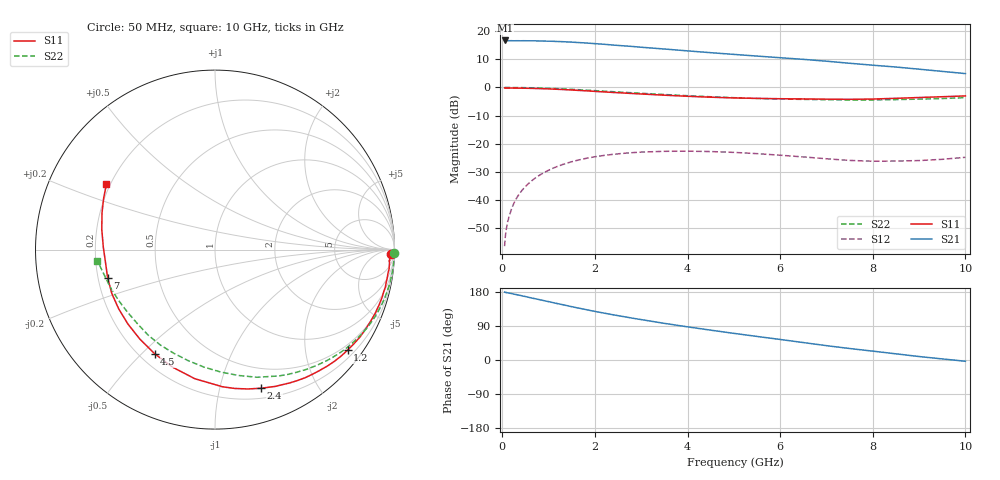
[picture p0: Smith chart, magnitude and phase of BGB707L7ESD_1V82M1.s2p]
!  Infineon Technologies AG
!  BGB707L7ESD RU919007 w#7 Sample Build #08493 Teil Nr. 3
!  Vce = 1.8V, Ic = 2.1mA
!  DATUM: 30.06.2009 10:15:06
# GHz  S  MA  R  50
!f  S11  S21  S12  S22
!GHz  Mag  Ang  Mag  Ang  Mag  Ang  Mag  Ang
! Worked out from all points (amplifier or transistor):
!   52 points, 50 MHz to 10 GHz, reference 50 ohm
!   highest |S21| = 16.7 dB at 60 MHz (marker M1)
!   |S21| within 3 dB of that: start of sweep to 3.461 GHz
!   unconditionally stable (mu >= 1): 7.06 GHz to end of sweep
!   at 130 MHz: K = -0.04, MSG = 31.9 dB, |S12| = -47.1 dB
!   at 1.4 GHz: K = 0.06, MSG = 21.6 dB, |S12| = -26.9 dB
!   at 10 GHz: K = 1.19, MAG = 12.3 dB, |S12| = -24.9 dB
!   lowest NFmin = 0.40 dB at 100 MHz
!   S11 on the Smith chart (normalised r, x): 50 MHz: 37, -46; 1.2 GHz: 0.37, -2.93; 2.4 GHz: 0.29, -1.35; 4.5 GHz: 0.26, -0.55; 7 GHz: 0.24, -0.12; 10 GHz: 0.18, +0.27
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0.05  0.9788 -1.5  6.744 179.0  0.00149 87.9  0.999 -1.1
0.06  0.9779 -2.0  6.873 178.7  0.002024 90.8  0.9994 -1.3
0.08  0.9738 -2.3  6.761 178.0  0.002754 87.4  0.999 -1.8
0.09  0.9757 -2.9  6.817 178.4  0.003109 90.1  0.9995 -2.1
0.1  0.9744 -3.3  6.782 177.5  0.003396 90.5  0.999 -2.3
0.2  0.976 -6.3  6.81 175.3  0.006892 85.9  0.9978 -4.6
0.4  0.972 -12.4  6.778 170.1  0.01383 81.6  0.9934 -9.2
0.7  0.9603 -21.9  6.776 161.9  0.02398 74.9  0.983 -16.2
1.2  0.9271 -37.2  6.58 148.6  0.03949 63.9  0.9512 -27.6
1.5  0.901 -46.2  6.412 140.7  0.04758 57.4  0.9255 -34.3
1.8  0.8725 -54.9  6.204 133.2  0.0544 51.3  0.8976 -40.6
2.2  0.833 -66.2  5.877 123.7  0.06168 43.7  0.8588 -48.7
2.4  0.8143 -71.5  5.688 119.2  0.06449 40.2  0.8398 -52.6
2.8  0.7811 -82.0  5.38 110.6  0.06894 33.8  0.8047 -59.9
3.5  0.7282 -98.9  4.838 96.7  0.07291 24.1  0.7489 -71.8
4  0.6964 -109.8  4.485 87.5  0.0733 18.2  0.7131 -79.5
4.5  0.6706 -120.1  4.161 78.7  0.0722 13.4  0.6829 -87.3
5.5  0.6383 -139.4  3.622 62.2  0.06625 6.3  0.6369 -103.4
6.5  0.6248 -156.9  3.166 46.0  0.0579 4.3  0.6128 -119.6
7  0.6184 -165.4  2.936 37.9  0.05369 5.6  0.6048 -128.0
8.5  0.6406 169.9  2.311 16.3  0.04885 19.3  0.6078 -152.4
10  0.707 148.8  1.767 -3.3  0.05703 32.6  0.6577 -174.5
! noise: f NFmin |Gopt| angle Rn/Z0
0.1  0.4  0.68  2  0.23
0.45  0.51  0.68  4  0.23
0.9  0.57  0.7  13  0.22
1.8  0.65  0.54  36  0.22
5  1.07  0.43  79  0.2
10  2.02  0.48  -143  0.13
